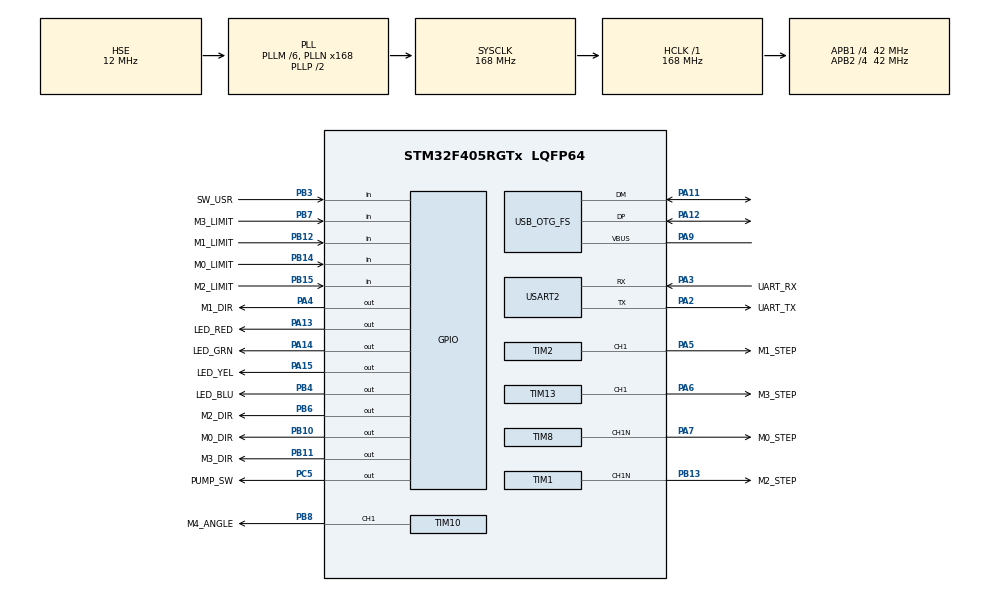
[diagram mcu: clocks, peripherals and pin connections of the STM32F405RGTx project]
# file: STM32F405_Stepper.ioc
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Dma.Request0=USART2_RX
Dma.Request1=USART2_TX
Dma.USART2_RX.0.Direction=DMA_PERIPH_TO_MEMORY
Dma.USART2_RX.0.FIFOMode=DMA_FIFOMODE_DISABLE
Dma.USART2_RX.0.Instance=DMA1_Stream5
Dma.USART2_RX.0.MemDataAlignment=DMA_MDATAALIGN_BYTE
Dma.USART2_RX.0.MemInc=DMA_MINC_ENABLE
Dma.USART2_RX.0.Mode=DMA_NORMAL
Dma.USART2_RX.0.PeriphDataAlignment=DMA_PDATAALIGN_BYTE
Dma.USART2_RX.0.PeriphInc=DMA_PINC_DISABLE
Dma.USART2_RX.0.Priority=DMA_PRIORITY_LOW
Dma.USART2_TX.1.Direction=DMA_MEMORY_TO_PERIPH
Dma.USART2_TX.1.FIFOMode=DMA_FIFOMODE_DISABLE
Dma.USART2_TX.1.Instance=DMA1_Stream6
Dma.USART2_TX.1.MemDataAlignment=DMA_MDATAALIGN_BYTE
Dma.USART2_TX.1.MemInc=DMA_MINC_ENABLE
Dma.USART2_TX.1.Mode=DMA_NORMAL
Dma.USART2_TX.1.PeriphDataAlignment=DMA_PDATAALIGN_BYTE
Dma.USART2_TX.1.PeriphInc=DMA_PINC_DISABLE
Dma.USART2_TX.1.Priority=DMA_PRIORITY_LOW
Mcu.Family=STM32F4
Mcu.Name=STM32F405RGTx
Mcu.Package=LQFP64
NVIC.DMA1_Stream5_IRQn=true\:2\:0\:true\:false\:true\:false\:true
NVIC.DMA1_Stream6_IRQn=true\:2\:0\:true\:false\:true\:false\:true
NVIC.OTG_FS_IRQn=true\:3\:0\:true\:false\:true\:false\:true
NVIC.PriorityGroup=NVIC_PRIORITYGROUP_4
NVIC.TIM1_UP_TIM10_IRQn=true\:0\:0\:false\:false\:true\:true\:false
NVIC.TIM2_IRQn=true\:0\:0\:false\:false\:true\:true\:false
NVIC.TIM5_IRQn=true\:2\:0\:true\:false\:true\:true\:true
NVIC.TIM8_UP_TIM13_IRQn=true\:0\:0\:false\:false\:true\:true\:false
NVIC.USART2_IRQn=true\:2\:0\:true\:false\:true\:true\:true
PA11.Mode=Device_Only
PA11.Signal=USB_OTG_FS_DM
PA12.Mode=Device_Only
PA12.Signal=USB_OTG_FS_DP
PA13.GPIO_Label=LED_RED
PA13.GPIO_PuPd=GPIO_PULLUP
PA13.Signal=GPIO_Output
PA14.GPIO_Label=LED_GRN
PA14.GPIO_ModeDefaultOutputPP=GPIO_MODE_OUTPUT_PP
PA14.GPIO_PuPd=GPIO_PULLUP
PA14.GPIO_Speed=GPIO_SPEED_FREQ_LOW
PA14.PinState=GPIO_PIN_RESET
PA14.Signal=GPIO_Output
PA15.GPIO_Label=LED_YEL
PA15.GPIO_ModeDefaultOutputPP=GPIO_MODE_OUTPUT_PP
PA15.GPIO_PuPd=GPIO_PULLUP
PA15.GPIO_Speed=GPIO_SPEED_FREQ_LOW
PA15.PinState=GPIO_PIN_RESET
PA15.Signal=GPIO_Output
PA2.GPIO_Label=UART_TX
PA2.Mode=Asynchronous
PA2.Signal=USART2_TX
PA3.GPIO_Label=UART_RX
PA3.Mode=Asynchronous
PA3.Signal=USART2_RX
PA4.GPIO_Label=M1_DIR
PA4.Signal=GPIO_Output
PA5.GPIO_Label=M1_STEP
PA5.Signal=S_TIM2_CH1_ETR
PA6.GPIO_Label=M3_STEP
PA6.Signal=S_TIM13_CH1
PA7.GPIO_Label=M0_STEP
PA7.Mode=PWM Generation1 CH1N
PA7.Signal=TIM8_CH1N
PA9.Mode=Activate_VBUS
PA9.Signal=USB_OTG_FS_VBUS
PB10.GPIO_Label=M0_DIR
PB10.Signal=GPIO_Output
PB11.GPIO_Label=M3_DIR
PB11.Signal=GPIO_Output
PB12.GPIO_Label=M1_LIMIT
PB12.GPIO_PuPd=GPIO_PULLDOWN
PB12.Signal=GPIO_Input
PB13.GPIO_Label=M2_STEP
PB13.Mode=PWM Generation1 CH1N
PB13.Signal=TIM1_CH1N
PB14.GPIO_Label=M0_LIMIT
PB14.GPIO_PuPd=GPIO_PULLDOWN
PB14.Signal=GPIO_Input
PB15.GPIO_Label=M2_LIMIT
PB15.GPIO_PuPd=GPIO_PULLDOWN
PB15.Signal=GPIO_Input
PB3.GPIO_Label=SW_USR
PB3.GPIO_Mode=GPIO_MODE_INPUT
PB3.GPIO_PuPd=GPIO_NOPULL
PB3.Signal=GPIO_Input
PB4.GPIO_Label=LED_BLU
PB4.GPIO_PuPd=GPIO_PULLUP
PB4.Signal=GPIO_Output
PB6.GPIO_Label=M2_DIR
PB6.Signal=GPIO_Output
PB7.GPIO_Label=M3_LIMIT
PB7.GPIO_PuPd=GPIO_PULLDOWN
PB7.Signal=GPIO_Input
PB8.GPIO_Label=M4_ANGLE
PB8.Signal=S_TIM10_CH1
PC14-OSC32_IN.Mode=LSE-External-Oscillator
PC14-OSC32_IN.Signal=RCC_OSC32_IN
PC15-OSC32_OUT.Mode=LSE-External-Oscillator
PC15-OSC32_OUT.Signal=RCC_OSC32_OUT
PC5.GPIO_Label=PUMP_SW
PC5.GPIO_ModeDefaultOutputPP=GPIO_MODE_OUTPUT_PP
PC5.Signal=GPIO_Output
PH0-OSC_IN.Mode=HSE-External-Oscillator
PH0-OSC_IN.Signal=RCC_OSC_IN
PH1-OSC_OUT.Mode=HSE-External-Oscillator
PH1-OSC_OUT.Signal=RCC_OSC_OUT
ProjectManager.HeapSize=0x2800
ProjectManager.StackSize=0x2800
ProjectManager.TargetToolchain=STM32CubeIDE
RCC.48MHZClocksFreq_Value=48000000
RCC.AHBFreq_Value=168000000
RCC.APB1CLKDivider=RCC_HCLK_DIV4
RCC.APB1Freq_Value=42000000
RCC.APB1TimFreq_Value=84000000
RCC.APB2CLKDivider=RCC_HCLK_DIV4
RCC.APB2Freq_Value=42000000
RCC.APB2TimFreq_Value=84000000
RCC.CortexFreq_Value=168000000
RCC.HCLKFreq_Value=168000000
RCC.HSE_VALUE=12000000
RCC.HSI_VALUE=16000000
RCC.PLLM=6
RCC.PLLN=168
RCC.PLLQ=7
RCC.SYSCLKFreq_VALUE=168000000
RCC.SYSCLKSource=RCC_SYSCLKSOURCE_PLLCLK
RCC.VCOOutputFreq_Value=336000000
SH.S_TIM10_CH1.0=TIM10_CH1,PWM Generation1 CH1
SH.S_TIM13_CH1.0=TIM13_CH1,PWM Generation1 CH1
SH.S_TIM2_CH1_ETR.0=TIM2_CH1,PWM Generation1 CH1
TIM1.Channel-PWM\ Generation1\ CH1N=TIM_CHANNEL_1
TIM1.CounterMode=TIM_COUNTERMODE_DOWN
TIM1.Period=0xFFFF
TIM1.Pulse-PWM\ Generation1\ CH1N=200
TIM10.Channel=TIM_CHANNEL_1
TIM10.Period=0xFFFF
TIM10.Pulse=200
TIM13.Channel=TIM_CHANNEL_1
TIM13.Pulse=200
TIM2.Channel-PWM\ Generation1\ CH1=TIM_CHANNEL_1
TIM2.CounterMode=TIM_COUNTERMODE_DOWN
TIM2.Period=0xFFFF
TIM2.Pulse-PWM\ Generation1\ CH1=200
TIM5.Period=68000-1
TIM5.Prescaler=0
TIM8.Channel-PWM\ Generation1\ CH1N=TIM_CHANNEL_1
TIM8.CounterMode=TIM_COUNTERMODE_UP
TIM8.Period=0xFFFF
TIM8.Pulse-PWM\ Generation1\ CH1N=200
USART2.VirtualMode=VM_ASYNC
USB_DEVICE.CLASS_NAME_FS=CDC
USB_DEVICE.VirtualMode-CDC_FS=Cdc
USB_DEVICE.VirtualModeFS=Cdc_FS
USB_OTG_FS.VirtualMode=Device_Only
VP_TIM10_VS_ClockSourceINT.Mode=Enable_Timer
VP_TIM13_VS_ClockSourceINT.Mode=Enable_Timer
VP_TIM1_VS_ClockSourceINT.Mode=Internal
VP_TIM2_VS_ClockSourceINT.Mode=Internal
VP_TIM5_VS_ClockSourceINT.Mode=Internal
VP_TIM8_VS_ClockSourceINT.Mode=Internal
VP_USB_DEVICE_VS_USB_DEVICE_CDC_FS.Mode=CDC_FS
board=custom

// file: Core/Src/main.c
/* USER CODE BEGIN Header */
/**
  ******************************************************************************
  * @file           : main.c
  * @brief          : Main program body
  ******************************************************************************
  * @attention
  *
  * <h2><center>&copy; Copyright (c) 2020 STMicroelectronics.
  * All rights reserved.</center></h2>
  *
  * This software component is licensed by ST under Ultimate Liberty license
  * SLA0044, the "License"; You may not use this file except in compliance with
  * the License. You may obtain a copy of the License at:
  *                             www.st.com/SLA0044
  *
  ******************************************************************************
  */
/* USER CODE END Header */
#include "main.h"
#include "dma.h"
#include "tim.h"
#include "usart.h"
#include "usb_device.h"
#include "gpio.h"

/* USER CODE BEGIN Includes */
#include "stepperController.h"
#include "stepperCommands.h"
#include "serial.h"

#include "usbd_cdc_if.h"
/* USER CODE END Includes */

/* USER CODE BEGIN PTD */
#ifdef ARM_ROBOT
extern TIM_HandleTypeDef htim1;
extern TIM_HandleTypeDef htim2;
extern TIM_HandleTypeDef htim8;
#endif

#ifdef  BELT_ROBOT
extern TIM_HandleTypeDef htim13;
#endif

_moto motoTable[MOTO_MAX] = {
#ifdef ARM_ROBOT
  {'M', &htim8,  TIM_CHANNEL_1}, // M0 X8
  {'N', &htim2,  TIM_CHANNEL_1}, // M1 X6
  {'O', &htim1,  TIM_CHANNEL_1}, // M2 Y6
#endif

#ifdef  BELT_ROBOT
  {'L', &htim13, TIM_CHANNEL_1}, // M3
#endif
};

_moto_limited moto_limited_io[MOTO_MAX] = {
#ifdef ARM_ROBOT
  {1, 1, 0, M0_LIMIT_GPIO_Port, M0_LIMIT_Pin}, //Y7
  {1, 1, 0, M1_LIMIT_GPIO_Port, M1_LIMIT_Pin}, //Y5
  {1, 1, 0, M2_LIMIT_GPIO_Port, M2_LIMIT_Pin}, //Y8
#endif

#ifdef  BELT_ROBOT
  {1, 1, 0, M3_LIMIT_GPIO_Port, M3_LIMIT_Pin}, //X10
#endif
};

/* USER CODE END PTD */

/* USER CODE BEGIN PM */
// #define TEST
/* USER CODE END PM */

/* USER CODE BEGIN PV */
uint32_t STEP_TIMER_CLOCK;
uint32_t STEP_CONTROLLER_PERIOD_US;

/* USER CODE END PV */

void SystemClock_Config(void);

int main(void)
{
  /* USER CODE BEGIN 1 */
  int i;
  stepper_request stReq =  {'\0', CMD_GET, PARAM_ALL, 0, false};
  /* USER CODE END 1 */

  /* MCU Configuration--------------------------------------------------------*/

  /* Reset of all peripherals, Initializes the Flash interface and the Systick. */
  HAL_Init();

  /* Configure the system clock */
  SystemClock_Config();

  /* Initialize all configured peripherals */
  MX_GPIO_Init();
  MX_DMA_Init();
  MX_USB_DEVICE_Init();
  MX_TIM1_Init();
  MX_TIM2_Init();
  MX_TIM8_Init();
  MX_USART2_UART_Init();
  MX_TIM5_Init();
  MX_TIM10_Init();
  MX_TIM13_Init();
  /* USER CODE BEGIN 2 */

  STEP_TIMER_CLOCK = HAL_RCC_GetHCLKFreq() / 2;
  STEP_CONTROLLER_PERIOD_US =  1000000U /(STEP_TIMER_CLOCK / htim5.Init.Period);

  HAL_Delay(1);
#if 1
  kprintf("\r\n");
  kprintf ("========= Stepper Hub for STM32F405 ==========\r\n");
  kprintf ("  Timer Clock: %ld MHz StepperCtrl: %ld us\r\n", STEP_TIMER_CLOCK/1000000, STEP_CONTROLLER_PERIOD_US);
  kprintf ("  M0 X/M Step:PA7  Tim:8 Ch:1N Dir: PB10 En: none\r\n");
  kprintf ("  M1 Y/N Step:PA5  Tim:2 Ch:1  Dir: PA4  En: none\r\n");
  kprintf ("  M2 Z/O Step:PB13 Tim:1 Ch:1N Dir: PB12 En: none\r\n");
  kprintf ("  M3 L Step:PA6 Tim:13 Ch:1 Dir: PB11 En: none\r\n");
  kprintf ("==============================================\r\n");
  kprintf ("%s\r\n",VERSION);
  kprintf ("\r\n");
#endif

#ifdef ARM_ROBOT
  Stepper_SetupPeripherals(motoTable[0].name, motoTable[0].tim, motoTable[0].tim_ch, &HAL_TIMEx_PWMN_Start, &HAL_TIMEx_PWMN_Stop, M0_DIR_GPIO_Port, M0_DIR_Pin);
  Stepper_SetupPeripherals(motoTable[1].name, motoTable[1].tim, motoTable[1].tim_ch, &HAL_TIM_PWM_Start,    &HAL_TIM_PWM_Stop,    M1_DIR_GPIO_Port, M1_DIR_Pin);
  Stepper_SetupPeripherals(motoTable[2].name, motoTable[2].tim, motoTable[2].tim_ch, &HAL_TIMEx_PWMN_Start, &HAL_TIMEx_PWMN_Stop, M2_DIR_GPIO_Port, M2_DIR_Pin);
#endif

#ifdef BELT_ROBOT
  Stepper_SetupPeripherals(motoTable[3].name, motoTable[3].tim, motoTable[3].tim_ch, &HAL_TIM_PWM_Start,    &HAL_TIM_PWM_Stop,    M3_DIR_GPIO_Port, M3_DIR_Pin);
#endif

  kprintf("Reading settings from internal storage...\r\n");
  Stepper_LoadConfig();

  if (Stepper_GetAccPrescaler(motoTable[MOTO_MAX-1].name) == 0xFFFFFFFF) {
    kprintf("Storage is clean, initializing defaults ...\r\n");
    for (i=0; i < MOTO_MAX; i ++)
    {
      Stepper_InitDefaultState(motoTable[i].name);
    }
    Stepper_SaveConfig();
  }

  for (i=0; i < MOTO_MAX; i++)
  {
    __HAL_TIM_ENABLE_IT(motoTable[i].tim, TIM_IT_UPDATE);
  }

  Serial_InitRxSequence();

  HAL_Delay(100);
  // This will run our StepController timer and enable interrupt for it as well
  HAL_TIM_Base_Start_IT(&htim5);

  // TODO: load settingsfrom FLASH
  for (i=0; i < MOTO_MAX; i++)
  {
    stReq.stepper = motoTable[i].name;
    ExecuteRequest(&stReq);
  }

#ifdef MOTO_EN_USED
  for (i=0; i < MOTO_MAX; i++)
  {
    Stepper_SetEn(motoTable[0].name, 0);
  }
#endif

  Pump_SetEn(1);

#if defined (TEST)
  Stepper_SetTargetPosition(motoTable[0].name,100);
#endif
  /* USER CODE END 2 */

  /* Infinite loop */
  while (1)
  {

  }
}

void SystemClock_Config(void)
{
  RCC_OscInitTypeDef RCC_OscInitStruct = {0};
  RCC_ClkInitTypeDef RCC_ClkInitStruct = {0};

  /** Configure the main internal regulator output voltage
  */
  __HAL_RCC_PWR_CLK_ENABLE();
  __HAL_PWR_VOLTAGESCALING_CONFIG(PWR_REGULATOR_VOLTAGE_SCALE1);
  /** Initializes the RCC Oscillators according to the specified parameters
  * in the RCC_OscInitTypeDef structure.
  */
  RCC_OscInitStruct.OscillatorType = RCC_OSCILLATORTYPE_HSE;
  RCC_OscInitStruct.HSEState = RCC_HSE_ON;
  RCC_OscInitStruct.PLL.PLLState = RCC_PLL_ON;
  RCC_OscInitStruct.PLL.PLLSource = RCC_PLLSOURCE_HSE;
  RCC_OscInitStruct.PLL.PLLM = 6;
  RCC_OscInitStruct.PLL.PLLN = 168;
  RCC_OscInitStruct.PLL.PLLP = RCC_PLLP_DIV2;
  RCC_OscInitStruct.PLL.PLLQ = 7;
  if (HAL_RCC_OscConfig(&RCC_OscInitStruct) != HAL_OK)
  {
    Error_Handler();
  }
  /** Initializes the CPU, AHB and APB buses clocks
  */
  RCC_ClkInitStruct.ClockType = RCC_CLOCKTYPE_HCLK|RCC_CLOCKTYPE_SYSCLK
                              |RCC_CLOCKTYPE_PCLK1|RCC_CLOCKTYPE_PCLK2;
  RCC_ClkInitStruct.SYSCLKSource = RCC_SYSCLKSOURCE_PLLCLK;
  RCC_ClkInitStruct.AHBCLKDivider = RCC_SYSCLK_DIV1;
  RCC_ClkInitStruct.APB1CLKDivider = RCC_HCLK_DIV4;
  RCC_ClkInitStruct.APB2CLKDivider = RCC_HCLK_DIV4;

  if (HAL_RCC_ClockConfig(&RCC_ClkInitStruct, FLASH_LATENCY_5) != HAL_OK)
  {
    Error_Handler();
  }
}

void Error_Handler(void)
{
  /* USER CODE BEGIN Error_Handler_Debug */
  /* User can add his own implementation to report the HAL error return state */
  kprintf("Error_Handler\r\n");
  /* USER CODE END Error_Handler_Debug */
}

#ifdef  USE_FULL_ASSERT
/**
  * @brief  Reports the name of the source file and the source line number
  *         where the assert_param error has occurred.
  * @param  file: pointer to the source file name
  * @param  line: assert_param error line source number
  * @retval None
  */
void assert_failed(uint8_t *file, uint32_t line)
{
  /* USER CODE BEGIN 6 */
  /* User can add his own implementation to report the file name and line number,
     tex: kprintf("Wrong parameters value: file %s on line %d\r\n", file, line) */
  /* USER CODE END 6 */
}
#endif /* USE_FULL_ASSERT */

/************************ (C) COPYRIGHT STMicroelectronics *****END OF FILE****/
